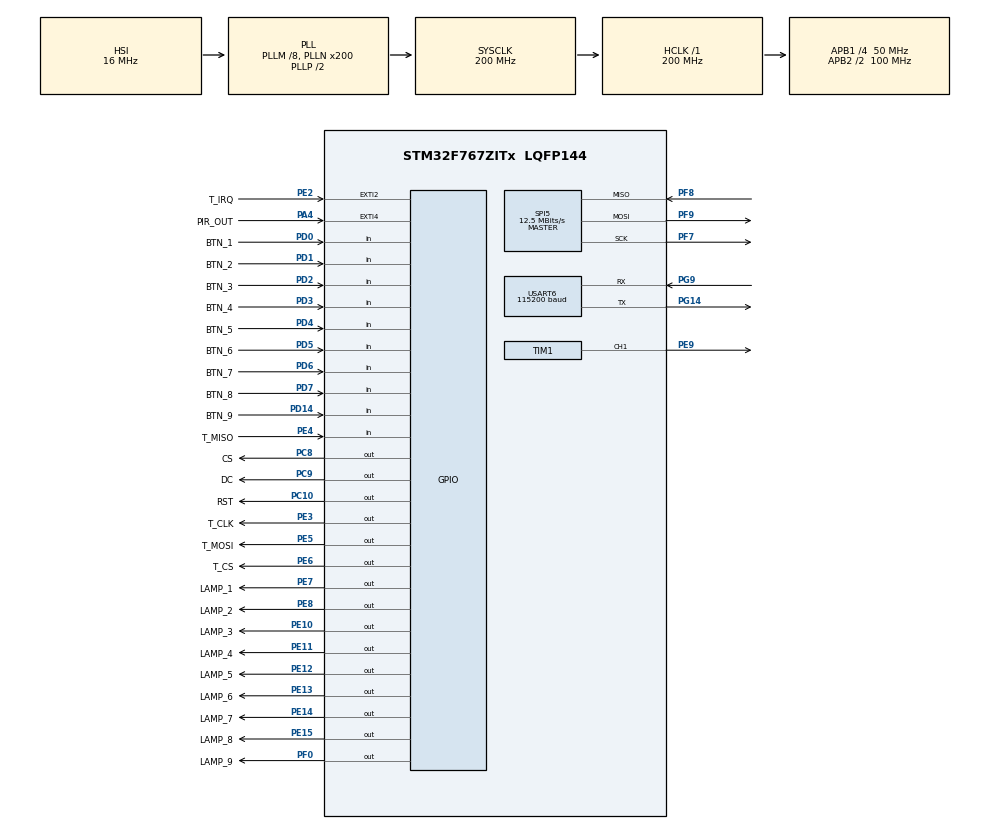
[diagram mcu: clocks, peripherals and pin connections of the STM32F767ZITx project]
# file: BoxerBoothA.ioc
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CORTEX_M7.ART_ACCELERATOR_ENABLE=1
CORTEX_M7.CPU_DCache=Enabled
CORTEX_M7.CPU_ICache=Enabled
CORTEX_M7.PREFETCH_ENABLE=1
CORTEX_M7.default_mode_Activation=1
Mcu.Family=STM32F7
Mcu.Name=STM32F767ZITx
Mcu.Package=LQFP144
NVIC.EXTI2_IRQn=true\:0\:0\:false\:false\:true\:true\:true\:true
NVIC.EXTI4_IRQn=true\:0\:0\:false\:false\:true\:true\:true\:true
NVIC.PriorityGroup=NVIC_PRIORITYGROUP_4
NVIC.TIM6_DAC_IRQn=true\:0\:0\:false\:false\:true\:true\:true\:true
NVIC.USART6_IRQn=true\:0\:0\:false\:false\:true\:true\:true\:true
PA4.GPIO_Label=PIR_OUT
PA4.GPIO_ModeDefaultEXTI=GPIO_MODE_IT_RISING
PA4.GPIO_PuPd=GPIO_PULLDOWN
PA4.Signal=GPXTI4
PC10.GPIO_Label=RST
PC10.GPIO_Speed=GPIO_SPEED_FREQ_VERY_HIGH
PC10.Signal=GPIO_Output
PC8.GPIO_Label=CS
PC8.GPIO_Speed=GPIO_SPEED_FREQ_VERY_HIGH
PC8.Signal=GPIO_Output
PC9.GPIO_Label=DC
PC9.GPIO_Speed=GPIO_SPEED_FREQ_VERY_HIGH
PC9.Signal=GPIO_Output
PD0.GPIO_Label=BTN_1
PD0.GPIO_PuPd=GPIO_PULLUP
PD0.Signal=GPIO_Input
PD1.GPIO_Label=BTN_2
PD1.GPIO_PuPd=GPIO_PULLUP
PD1.Signal=GPIO_Input
PD14.GPIO_Label=BTN_9
PD14.GPIO_PuPd=GPIO_PULLUP
PD14.Signal=GPIO_Input
PD2.GPIO_Label=BTN_3
PD2.GPIO_PuPd=GPIO_PULLUP
PD2.Signal=GPIO_Input
PD3.GPIO_Label=BTN_4
PD3.GPIO_PuPd=GPIO_PULLUP
PD3.Signal=GPIO_Input
PD4.GPIO_Label=BTN_5
PD4.GPIO_PuPd=GPIO_PULLUP
PD4.Signal=GPIO_Input
PD5.GPIO_Label=BTN_6
PD5.GPIO_PuPd=GPIO_PULLUP
PD5.Signal=GPIO_Input
PD6.GPIO_Label=BTN_7
PD6.GPIO_PuPd=GPIO_PULLUP
PD6.Signal=GPIO_Input
PD7.GPIO_Label=BTN_8
PD7.GPIO_PuPd=GPIO_PULLUP
PD7.Signal=GPIO_Input
PE10.GPIO_Label=LAMP_3
PE10.Signal=GPIO_Output
PE11.GPIO_Label=LAMP_4
PE11.Signal=GPIO_Output
PE12.GPIO_Label=LAMP_5
PE12.Signal=GPIO_Output
PE13.GPIO_Label=LAMP_6
PE13.Signal=GPIO_Output
PE14.GPIO_Label=LAMP_7
PE14.Signal=GPIO_Output
PE15.GPIO_Label=LAMP_8
PE15.Signal=GPIO_Output
PE2.GPIO_Label=T_IRQ
PE2.GPIO_ModeDefaultEXTI=GPIO_MODE_IT_FALLING
PE2.GPIO_PuPd=GPIO_PULLUP
PE2.Signal=GPXTI2
PE3.GPIO_Label=T_CLK
PE3.GPIO_Speed=GPIO_SPEED_FREQ_VERY_HIGH
PE3.Signal=GPIO_Output
PE4.GPIO_Label=T_MISO
PE4.Signal=GPIO_Input
PE5.GPIO_Label=T_MOSI
PE5.GPIO_Speed=GPIO_SPEED_FREQ_VERY_HIGH
PE5.Signal=GPIO_Output
PE6.GPIO_Label=T_CS
PE6.GPIO_Speed=GPIO_SPEED_FREQ_VERY_HIGH
PE6.Signal=GPIO_Output
PE7.GPIO_Label=LAMP_1
PE7.Signal=GPIO_Output
PE8.GPIO_Label=LAMP_2
PE8.Signal=GPIO_Output
PE9.Signal=S_TIM1_CH1
PF0.GPIO_Label=LAMP_9
PF0.Signal=GPIO_Output
PF7.Mode=Full_Duplex_Master
PF7.Signal=SPI5_SCK
PF8.Mode=Full_Duplex_Master
PF8.Signal=SPI5_MISO
PF9.Mode=Full_Duplex_Master
PF9.Signal=SPI5_MOSI
PG14.Mode=Asynchronous
PG14.Signal=USART6_TX
PG9.Mode=Asynchronous
PG9.Signal=USART6_RX
PH0/OSC_IN.Mode=HSE-External-Clock-Source
PH0/OSC_IN.Signal=RCC_OSC_IN
PH1/OSC_OUT.Mode=HSE-External-Clock-Source
PH1/OSC_OUT.Signal=RCC_OSC_OUT
ProjectManager.HeapSize=0x200
ProjectManager.StackSize=0x400
ProjectManager.TargetToolchain=STM32CubeIDE
RCC.AHBFreq_Value=200000000
RCC.APB1CLKDivider=RCC_HCLK_DIV4
RCC.APB1Freq_Value=50000000
RCC.APB1TimFreq_Value=100000000
RCC.APB2CLKDivider=RCC_HCLK_DIV2
RCC.APB2Freq_Value=100000000
RCC.APB2TimFreq_Value=200000000
RCC.CortexFreq_Value=200000000
RCC.HCLKFreq_Value=200000000
RCC.HSE_VALUE=8000000
RCC.HSI_VALUE=16000000
RCC.LSE_VALUE=32768
RCC.PLLM=4
RCC.PLLN=200
RCC.PLLSourceVirtual=RCC_PLLSOURCE_HSE
RCC.SYSCLKFreq_VALUE=200000000
RCC.SYSCLKSource=RCC_SYSCLKSOURCE_PLLCLK
RCC.USBFreq_Value=200000000
RCC.VCOOutputFreq_Value=400000000
SH.S_TIM1_CH1.0=TIM1_CH1,PWM Generation1 CH1
SPI5.BaudRatePrescaler=SPI_BAUDRATEPRESCALER_8
SPI5.CalculateBaudRate=12.5 MBits/s
SPI5.DataSize=SPI_DATASIZE_8BIT
SPI5.Direction=SPI_DIRECTION_2LINES
SPI5.Mode=SPI_MODE_MASTER
SPI5.VirtualType=VM_MASTER
TIM1.AutoReloadPreload=TIM_AUTORELOAD_PRELOAD_ENABLE
TIM1.Channel-PWM\ Generation1\ CH1=TIM_CHANNEL_1
TIM1.Period=999
TIM1.Prescaler=199
TIM6.Period=999
TIM6.Prescaler=99
USART6.BaudRate=115200
USART6.VirtualMode=VM_ASYNC
USART6.VirtualMode-Asynchronous=VM_ASYNC
VP_TIM1_VS_ClockSourceINT.Mode=Internal
VP_TIM6_VS_ClockSourceINT.Mode=Enable_Timer
board=custom

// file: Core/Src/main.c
/* USER CODE BEGIN Header */
/**
  ******************************************************************************
  * @file           : main.c
  * @brief          : Main program body
  ******************************************************************************
  * @attention
  *
  * Copyright (c) 2026 STMicroelectronics.
  * All rights reserved.
  *
  * This software is licensed under terms that can be found in the LICENSE file
  * in the root directory of this software component.
  * If no LICENSE file comes with this software, it is provided AS-IS.
  *
  ******************************************************************************
  */
/* USER CODE END Header */
#include "main.h"
#include "spi.h"
#include "tim.h"
#include "usart.h"
#include "gpio.h"

/* USER CODE BEGIN Includes */
#include "ILI9341_STM32_Driver.h"
#include "ILI9341_GFX.h"

#include "ILI9341_Touchscreen.h"
#include <stdio.h>
#include <string.h>

#include "screens.h"
#include "img.h"
#include "digits.h"
#include "game.h"
#include "link.h"
#include "pir.h"
/* USER CODE END Includes */

/* USER CODE BEGIN PD */
/* 1 = โหมดเทสต์ PIR เดี่ยวๆ (ดูผลผ่าน Serial Monitor 115200 + ไฟ LED บนบอร์ด + จอ LCD)
   0 = ปิดโหมดเทสต์ (ค่าเริ่มต้นสำหรับรวมโค้ดกับทีม) */
#define TEST_PIR_ONLY  0

/* 1 = เดโมไล่ดูหน้าจอเฉย ๆ  ·  0 = เล่นเกมจริงผ่าน state machine
   ตอนนี้เป็น 1 เพราะด่านยังเป็นโครงเปล่า พอเพื่อนเขียนเสร็จให้เปลี่ยนเป็น 0 */
#define DEMO_SCREENS  0

/* 1 = เล่นเกมจริง (ต่อบอร์ด B ได้ปกติ) แต่ให้ไฟ 3 ดวงบนบอร์ดบอกสถานะ PIR ไว้ดูตอนเทสตู้
       LD1 เขียว = ขา PA4 สด · LD2 ฟ้า = จอตื่น (ไม่ใช่ IDLE) · LD3 แดงกะพริบ = PIR ยังวอร์มอัป
   0 = ปิด (ค่าเริ่มต้นสำหรับรวมโค้ดกับทีม) */
#define DEBUG_PIR_LEDS  1

/* USER CODE END PD */

void SystemClock_Config(void);
static void MPU_Config(void);
/* USER CODE BEGIN PFP */
#if TEST_PIR_ONLY
static void Debug_Init(void);
static void Debug_Print(const char *msg);
#endif
#if DEBUG_PIR_LEDS
static void PirLeds_Init(void);
static void PirLeds_Update(void);
#endif
/* USER CODE END PFP */

int main(void)
{

  /* MPU Configuration--------------------------------------------------------*/
  MPU_Config();

  /* Enable the CPU Cache */

  /* Enable I-Cache---------------------------------------------------------*/
  SCB_EnableICache();

  /* Enable D-Cache---------------------------------------------------------*/
  SCB_EnableDCache();

  /* MCU Configuration--------------------------------------------------------*/

  /* Reset of all peripherals, Initializes the Flash interface and the Systick. */
  HAL_Init();

  /* Configure the system clock */
  SystemClock_Config();

  /* Initialize all configured peripherals */
  MX_GPIO_Init();
  MX_SPI5_Init();
  MX_TIM1_Init();
  MX_USART6_UART_Init();
  MX_TIM6_Init();
  /* USER CODE BEGIN 2 */
  ILI9341_Init();
  ILI9341_Set_Rotation(SCREEN_VERTICAL_1);              /* 240 x 320 แนวตั้ง */
  HAL_TIM_PWM_Start(&htim1, TIM_CHANNEL_1);             /* ไฟหลังจอ */
  __HAL_TIM_SET_COMPARE(&htim1, TIM_CHANNEL_1, 1000);
  PIR_Init();

#if TEST_PIR_ONLY
  Debug_Init();
  Game_Init();
  Debug_Print("\r\n=== Board A: PIR Test (PA4 / EXTI4) ===\r\n");
#elif DEMO_SCREENS
  Screen_Draw(SC_ATTRACT);
#else
  Link_Init();
  Game_Init();
#if DEBUG_PIR_LEDS
  PirLeds_Init();
#endif
#endif
  /* USER CODE END 2 */

  /* Infinite loop */
  while (1)
  {

    /* USER CODE BEGIN 3 */
#if TEST_PIR_ONLY
	  PIR_Update();
	  Game_Tick();

	  int pg4        = (HAL_GPIO_ReadPin(PIR_OUT_GPIO_Port, PIR_OUT_Pin) == GPIO_PIN_SET);
	  int is_attract = (__HAL_TIM_GET_COMPARE(&htim1, TIM_CHANNEL_1) > 100);

	  HAL_GPIO_WritePin(GPIOB, GPIO_PIN_0,  pg4 ? GPIO_PIN_SET : GPIO_PIN_RESET);        /* LD1 เขียว = ขา PA4 สด */
	  HAL_GPIO_WritePin(GPIOB, GPIO_PIN_7,  is_attract ? GPIO_PIN_SET : GPIO_PIN_RESET); /* LD2 ฟ้า  = หน้า ATTRACT */
	  HAL_GPIO_WritePin(GPIOB, GPIO_PIN_14,
	      (PIR_IsWarmingUp() && (HAL_GetTick() / 300) % 2) ? GPIO_PIN_SET : GPIO_PIN_RESET); /* LD3 แดง = วอร์มอัป */

	  static uint32_t t_log = 0;
	  if (HAL_GetTick() - t_log >= 250) {
		  t_log = HAL_GetTick();
		  char msg[120];
		  snprintf(msg, sizeof msg, "[%s] PA4=%d | EXTI4_Cnt=%lu\r\n",
		           PIR_IsWarmingUp() ? "WARMUP " : (is_attract ? "ATTRACT" : "IDLE   "),
		           pg4, pir_trig_count);
		  Debug_Print(msg);
	  }
#elif DEMO_SCREENS
	  /* เดโมไล่ดูหน้าจอ เปลี่ยนเองทุก 3 วิ หรือกดปุ่มเกมดวงที่ 1 / แตะจอข้าม */
	  static int page = 0;
	  static int btn_was = 0, tp_was = 0;
	  static uint32_t last_change = 0;
	  int next = 0;

	  int btn = (HAL_GPIO_ReadPin(BTN_1_GPIO_Port, BTN_1_Pin) == GPIO_PIN_RESET);
	  int tp  = TP_Touchpad_Pressed();
	  if (btn && !btn_was) next = 1;
	  if (tp && !tp_was)   next = 1;
	  btn_was = btn;
	  tp_was  = tp;
	  if (HAL_GetTick() - last_change >= 3000) next = 1;

	  if (next) {
		  page++;
		  if (page >= SC_COUNT) page = 0;
		  Screen_Draw(page);
		  last_change = HAL_GetTick();
	  }
#else
	  PIR_Update();
	  Game_Tick();
#if DEBUG_PIR_LEDS
	  PirLeds_Update();
#endif
#endif

	  HAL_Delay(20);
  }
  /* USER CODE END 3 */
}

void SystemClock_Config(void)
{
  RCC_OscInitTypeDef RCC_OscInitStruct = {0};
  RCC_ClkInitTypeDef RCC_ClkInitStruct = {0};

  /** Configure the main internal regulator output voltage
  */
  __HAL_RCC_PWR_CLK_ENABLE();
  __HAL_PWR_VOLTAGESCALING_CONFIG(PWR_REGULATOR_VOLTAGE_SCALE1);

  /** Initializes the RCC Oscillators according to the specified parameters
  * in the RCC_OscInitTypeDef structure.
  */
  RCC_OscInitStruct.OscillatorType = RCC_OSCILLATORTYPE_HSI;
  RCC_OscInitStruct.HSIState = RCC_HSI_ON;
  RCC_OscInitStruct.HSICalibrationValue = RCC_HSICALIBRATION_DEFAULT;
  RCC_OscInitStruct.PLL.PLLState = RCC_PLL_ON;
  RCC_OscInitStruct.PLL.PLLSource = RCC_PLLSOURCE_HSI;
  RCC_OscInitStruct.PLL.PLLM = 8;
  RCC_OscInitStruct.PLL.PLLN = 200;
  RCC_OscInitStruct.PLL.PLLP = RCC_PLLP_DIV2;
  RCC_OscInitStruct.PLL.PLLQ = 2;
  RCC_OscInitStruct.PLL.PLLR = 2;
  if (HAL_RCC_OscConfig(&RCC_OscInitStruct) != HAL_OK)
  {
    Error_Handler();
  }

  /** Activate the Over-Drive mode
  */
  if (HAL_PWREx_EnableOverDrive() != HAL_OK)
  {
    Error_Handler();
  }

  /** Initializes the CPU, AHB and APB buses clocks
  */
  RCC_ClkInitStruct.ClockType = RCC_CLOCKTYPE_HCLK|RCC_CLOCKTYPE_SYSCLK
                              |RCC_CLOCKTYPE_PCLK1|RCC_CLOCKTYPE_PCLK2;
  RCC_ClkInitStruct.SYSCLKSource = RCC_SYSCLKSOURCE_PLLCLK;
  RCC_ClkInitStruct.AHBCLKDivider = RCC_SYSCLK_DIV1;
  RCC_ClkInitStruct.APB1CLKDivider = RCC_HCLK_DIV4;
  RCC_ClkInitStruct.APB2CLKDivider = RCC_HCLK_DIV2;

  if (HAL_RCC_ClockConfig(&RCC_ClkInitStruct, FLASH_LATENCY_6) != HAL_OK)
  {
    Error_Handler();
  }
}

/* USER CODE BEGIN 4 */
#if TEST_PIR_ONLY
static UART_HandleTypeDef dbg_huart3;

static void Debug_Init(void)
{
  GPIO_InitTypeDef g = {0};
  RCC_PeriphCLKInitTypeDef pclk = {0};

  __HAL_RCC_GPIOB_CLK_ENABLE();
  g.Pin  = GPIO_PIN_0 | GPIO_PIN_7 | GPIO_PIN_14;
  g.Mode = GPIO_MODE_OUTPUT_PP;
  HAL_GPIO_Init(GPIOB, &g);

  pclk.PeriphClockSelection = RCC_PERIPHCLK_USART3;
  pclk.Usart3ClockSelection = RCC_USART3CLKSOURCE_PCLK1;
  HAL_RCCEx_PeriphCLKConfig(&pclk);

  __HAL_RCC_USART3_CLK_ENABLE();
  __HAL_RCC_GPIOD_CLK_ENABLE();
  g.Pin       = GPIO_PIN_8 | GPIO_PIN_9;
  g.Mode      = GPIO_MODE_AF_PP;
  g.Speed     = GPIO_SPEED_FREQ_VERY_HIGH;
  g.Alternate = GPIO_AF7_USART3;
  HAL_GPIO_Init(GPIOD, &g);

  dbg_huart3.Instance        = USART3;
  dbg_huart3.Init.BaudRate   = 115200;
  dbg_huart3.Init.WordLength = UART_WORDLENGTH_8B;
  dbg_huart3.Init.StopBits   = UART_STOPBITS_1;
  dbg_huart3.Init.Parity     = UART_PARITY_NONE;
  dbg_huart3.Init.Mode       = UART_MODE_TX_RX;
  HAL_UART_Init(&dbg_huart3);
}

static void Debug_Print(const char *msg)
{
  HAL_UART_Transmit(&dbg_huart3, (const uint8_t *)msg, (uint16_t)strlen(msg), 50);
}
#endif

#if DEBUG_PIR_LEDS
/* ไฟ LD1-LD3 บนบอร์ด Nucleo (PB0 PB7 PB14) ไม่มีใครใช้บนบอร์ด A จึงตั้งขาเองตรงนี้ ไม่ต้องแก้ .ioc */
static void PirLeds_Init(void)
{
  GPIO_InitTypeDef g = {0};

  __HAL_RCC_GPIOB_CLK_ENABLE();
  g.Pin  = GPIO_PIN_0 | GPIO_PIN_7 | GPIO_PIN_14;
  g.Mode = GPIO_MODE_OUTPUT_PP;
  HAL_GPIO_Init(GPIOB, &g);
}

static void PirLeds_Update(void)
{
  int pa4   = (HAL_GPIO_ReadPin(PIR_OUT_GPIO_Port, PIR_OUT_Pin) == GPIO_PIN_SET);
  int awake = (__HAL_TIM_GET_COMPARE(&htim1, TIM_CHANNEL_1) > 100);   /* IDLE หรี่ไฟจอเหลือ 5% */
  int blink = PIR_IsWarmingUp() && (HAL_GetTick() / 300) % 2;

  HAL_GPIO_WritePin(GPIOB, GPIO_PIN_0,  pa4   ? GPIO_PIN_SET : GPIO_PIN_RESET);   /* LD1 เขียว = ขา PA4 สด */
  HAL_GPIO_WritePin(GPIOB, GPIO_PIN_7,  awake ? GPIO_PIN_SET : GPIO_PIN_RESET);   /* LD2 ฟ้า  = จอตื่น */
  HAL_GPIO_WritePin(GPIOB, GPIO_PIN_14, blink ? GPIO_PIN_SET : GPIO_PIN_RESET);   /* LD3 แดง = วอร์มอัป */
}
#endif
/* USER CODE END 4 */

 /* MPU Configuration */

void MPU_Config(void)
{
  MPU_Region_InitTypeDef MPU_InitStruct = {0};

  /* Disables the MPU */
  HAL_MPU_Disable();

  /** Initializes and configures the Region and the memory to be protected
  */
  MPU_InitStruct.Enable = MPU_REGION_ENABLE;
  MPU_InitStruct.Number = MPU_REGION_NUMBER0;
  MPU_InitStruct.BaseAddress = 0x0;
  MPU_InitStruct.Size = MPU_REGION_SIZE_4GB;
  MPU_InitStruct.SubRegionDisable = 0x87;
  MPU_InitStruct.TypeExtField = MPU_TEX_LEVEL0;
  MPU_InitStruct.AccessPermission = MPU_REGION_NO_ACCESS;
  MPU_InitStruct.DisableExec = MPU_INSTRUCTION_ACCESS_DISABLE;
  MPU_InitStruct.IsShareable = MPU_ACCESS_SHAREABLE;
  MPU_InitStruct.IsCacheable = MPU_ACCESS_NOT_CACHEABLE;
  MPU_InitStruct.IsBufferable = MPU_ACCESS_NOT_BUFFERABLE;

  HAL_MPU_ConfigRegion(&MPU_InitStruct);
  /* Enables the MPU */
  HAL_MPU_Enable(MPU_PRIVILEGED_DEFAULT);

}

void Error_Handler(void)
{
  __disable_irq();
  while (1)
  {
  }
}
